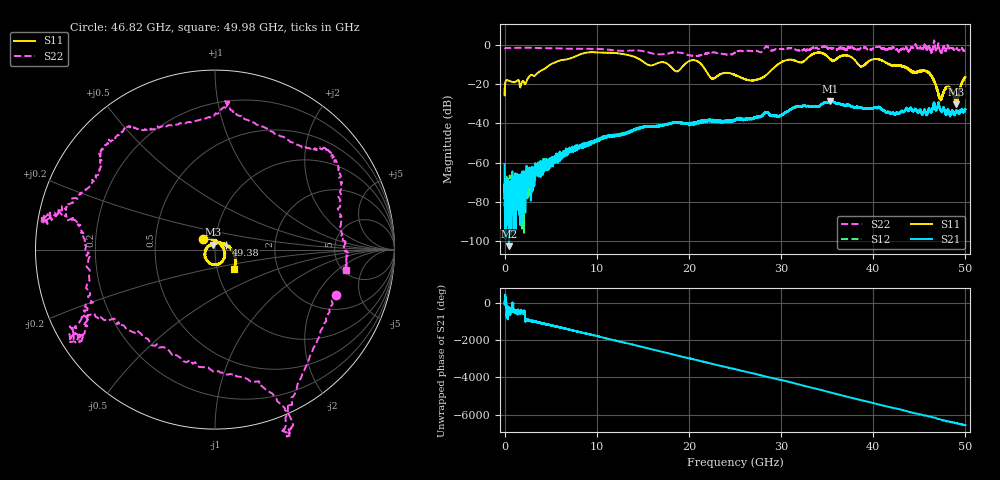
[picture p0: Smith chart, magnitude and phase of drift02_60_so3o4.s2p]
!Created with skrf (http://scikit-rf.org).
# Hz S RI R 50.0
!freq ReS11 ImS11 ReS21 ImS21 ReS12 ImS12 ReS22 ImS22
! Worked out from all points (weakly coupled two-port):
!   10001 points, 300 kHz to 50 GHz, reference 50 ohm
!   highest |S21| = -28.51 dB at 35.35 GHz (marker M1); lowest = -102.8 dB at 480.3 MHz (marker M2)
!   lowest |S11| = -30.3 dB at 49.02 GHz (marker M3), VSWR 1.06, Z = 48.7 + j2.7 ohm
!   |S11| at or under -10 dB: start of sweep to 4.957 GHz; 21.38 GHz to 29.63 GHz (8.247 GHz wide, 32.3 % of centre); 41.83 GHz to end of sweep (the widest 3 of 9)
!   |S22| runs from -5.7 to 2.4 dB; largest |S21 - S12| = 0.0031
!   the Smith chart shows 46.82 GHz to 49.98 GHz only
!   S11 on the Smith chart (normalised r, x): 46.82 GHz: 0.87, +0.10; 49.38 GHz: 1.13, +0.06; 49.98 GHz: 1.21, -0.26
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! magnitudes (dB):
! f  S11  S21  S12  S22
! 300 kHz  -22.2  -60.8  -75.6  -2.1
! 255.3 MHz  -17.9  -74.9  -75.6  -1.4
! 480.3 MHz  -18.2  -102.8  -76.5  -1.4
! 1.875 GHz  -19.0  -71.1  -83.3  -1.3
! 8.335 GHz  -4.5  -51.9  -51.6  -1.9
! 16.67 GHz  -9.1  -41.4  -41.5  -4.7
! 18.7 GHz  -13.5  -39.6  -39.6  -3.7
! 20.6 GHz  -7.7  -40.0  -39.6  -5.7
! 22.51 GHz  -17.1  -38.8  -38.6  -3.7
! 25 GHz  -15.3  -38.0  -38.3  -3.9
! 27.5 GHz  -17.5  -36.5  -36.7  -3.3
! 33.34 GHz  -4.9  -31.3  -31.3  -1.6
! 35.35 GHz  -7.2  -28.5  -28.7  -1.4
! 41.67 GHz  -9.7  -34.1  -34.2  -2.0
! 45.81 GHz  -13.2  -35.0  -35.6  -2.4
! 46.82 GHz  -21.1  -32.8  -33.1  -2.8
! 47.27 GHz  -27.6  -33.0  -32.9  -3.3
! 48.14 GHz  -21.6  -33.7  -33.3  -0.8
! 49.02 GHz  -30.3  -34.0  -33.4  -1.9
! 49.38 GHz  -23.6  -34.4  -34.3  -2.6
! 49.98 GHz  -16.5  -32.9  -32.5  -2.6
! 50 GHz  -16.4  -33.1  -32.4  -2.6
